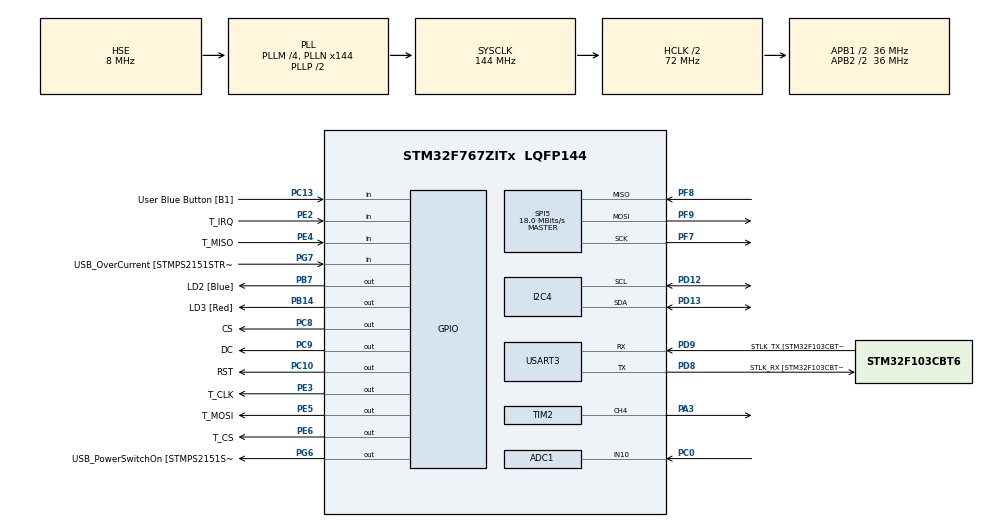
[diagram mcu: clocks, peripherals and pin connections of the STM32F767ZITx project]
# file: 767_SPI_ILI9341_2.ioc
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ADC1.Channel-0\#ChannelRegularConversion=ADC_CHANNEL_10
ADC1.ContinuousConvMode=ENABLE
ADC1.EOCSelection=ADC_EOC_SEQ_CONV
ADC1.NbrOfConversionFlag=1
ADC1.Rank-0\#ChannelRegularConversion=1
ADC1.SamplingTime-0\#ChannelRegularConversion=ADC_SAMPLETIME_3CYCLES
ADC1.master=1
CORTEX_M7.ART_ACCLERATOR_ENABLE=1
CORTEX_M7.CPU_DCache=Enabled
CORTEX_M7.CPU_ICache=Enabled
CORTEX_M7.PREFETCH_ENABLE=1
I2C4.Timing=0x00808CD2
Mcu.Family=STM32F7
Mcu.Name=STM32F767ZITx
Mcu.Package=LQFP144
NVIC.PriorityGroup=NVIC_PRIORITYGROUP_2
NVIC.TIM2_IRQn=true\:2\:0\:true\:false\:true\:true\:true\:true
PA1.GPIO_Label=RMII_REF_CLK [LAN8742A-CZ-TR_REFCLK0]
PA1.Signal=ETH_REF_CLK
PA13.GPIO_Label=TMS
PA13.Mode=Serial_Wire
PA13.Signal=SYS_JTMS-SWDIO
PA14.GPIO_Label=TCK
PA14.Mode=Serial_Wire
PA14.Signal=SYS_JTCK-SWCLK
PA2.GPIO_Label=RMII_MDIO [LAN8742A-CZ-TR_MDIO]
PA2.Signal=ETH_MDIO
PA3.GPIO_Speed=GPIO_SPEED_FREQ_VERY_HIGH
PA3.Signal=S_TIM2_CH4
PA7.GPIO_Label=RMII_CRS_DV [LAN8742A-CZ-TR_CRS_DV]
PA7.Signal=ETH_CRS_DV
PB13.GPIO_Label=RMII_TXD1 [LAN8742A-CZ-TR_TXD1]
PB13.Signal=ETH_TXD1
PB14.GPIO_Label=LD3 [Red]
PB14.Signal=GPIO_Output
PB3.GPIO_Label=SWO
PB3.Signal=SYS_JTDO-SWO
PB7.GPIO_Label=LD2 [Blue]
PB7.Signal=GPIO_Output
PC0.Signal=ADCx_IN10
PC1.GPIO_Label=RMII_MDC [LAN8742A-CZ-TR_MDC]
PC1.Signal=ETH_MDC
PC10.GPIO_Label=RST
PC10.GPIO_Speed=GPIO_SPEED_FREQ_VERY_HIGH
PC10.Signal=GPIO_Output
PC13.GPIO_Label=User Blue Button [B1]
PC13.Signal=GPIO_Input
PC14/OSC32_IN.Mode=LSE-External-Oscillator
PC14/OSC32_IN.Signal=RCC_OSC32_IN
PC15/OSC32_OUT.Mode=LSE-External-Oscillator
PC15/OSC32_OUT.Signal=RCC_OSC32_OUT
PC4.GPIO_Label=RMII_RXD0 [LAN8742A-CZ-TR_RXD0]
PC4.Signal=ETH_RXD0
PC5.GPIO_Label=RMII_RXD1 [LAN8742A-CZ-TR_RXD1]
PC5.Signal=ETH_RXD1
PC8.GPIO_Label=CS
PC8.GPIO_Speed=GPIO_SPEED_FREQ_VERY_HIGH
PC8.Signal=GPIO_Output
PC9.GPIO_Label=DC
PC9.GPIO_Speed=GPIO_SPEED_FREQ_VERY_HIGH
PC9.Signal=GPIO_Output
PD12.Mode=I2C
PD12.Signal=I2C4_SCL
PD13.Mode=I2C
PD13.Signal=I2C4_SDA
PD8.GPIO_Label=STLK_RX [STM32F103CBT6_PA3]
PD8.Mode=Asynchronous
PD8.Signal=USART3_TX
PD9.GPIO_Label=STLK_TX [STM32F103CBT6_PA2]
PD9.Mode=Asynchronous
PD9.Signal=USART3_RX
PE2.GPIO_Label=T_IRQ
PE2.Signal=GPIO_Input
PE3.GPIO_Label=T_CLK
PE3.GPIO_Speed=GPIO_SPEED_FREQ_VERY_HIGH
PE3.Signal=GPIO_Output
PE4.GPIO_Label=T_MISO
PE4.Signal=GPIO_Input
PE5.GPIO_Label=T_MOSI
PE5.GPIO_Speed=GPIO_SPEED_FREQ_VERY_HIGH
PE5.Signal=GPIO_Output
PE6.GPIO_Label=T_CS
PE6.GPIO_Speed=GPIO_SPEED_FREQ_VERY_HIGH
PE6.Signal=GPIO_Output
PF7.Mode=Full_Duplex_Master
PF7.Signal=SPI5_SCK
PF8.Mode=Full_Duplex_Master
PF8.Signal=SPI5_MISO
PF9.Mode=Full_Duplex_Master
PF9.Signal=SPI5_MOSI
PG11.GPIO_Label=RMII_TX_EN [LAN8742A-CZ-TR_TXEN]
PG11.Signal=ETH_TX_EN
PG13.GPIO_Label=RMII_TXD0 [LAN8742A-CZ-TR_TXD0]
PG13.Signal=ETH_TXD0
PG6.GPIO_Label=USB_PowerSwitchOn [STMPS2151STR_EN]
PG6.Signal=GPIO_Output
PG7.GPIO_Label=USB_OverCurrent [STMPS2151STR_FAULT]
PG7.Signal=GPIO_Input
PH0/OSC_IN.GPIO_Label=MCO [STM32F103CBT6_PA8]
PH0/OSC_IN.Mode=HSE-External-Clock-Source
PH0/OSC_IN.Signal=RCC_OSC_IN
PH1/OSC_OUT.Mode=HSE-External-Clock-Source
PH1/OSC_OUT.Signal=RCC_OSC_OUT
ProjectManager.HeapSize=0x200
ProjectManager.StackSize=0x400
ProjectManager.TargetToolchain=STM32CubeIDE
RCC.48MHZClocksFreq_Value=24000000
RCC.AHBCLKDivider=RCC_SYSCLK_DIV2
RCC.AHBFreq_Value=72000000
RCC.APB1CLKDivider=RCC_HCLK_DIV2
RCC.APB1Freq_Value=36000000
RCC.APB1TimFreq_Value=72000000
RCC.APB2CLKDivider=RCC_HCLK_DIV2
RCC.APB2Freq_Value=36000000
RCC.APB2TimFreq_Value=72000000
RCC.CortexFreq_Value=72000000
RCC.HCLKFreq_Value=72000000
RCC.HSE_VALUE=8000000
RCC.HSI_VALUE=16000000
RCC.PLLM=4
RCC.PLLMUL=RCC_PLL_MUL9
RCC.PLLN=144
RCC.PLLQ=6
RCC.PLLSourceVirtual=RCC_PLLSOURCE_HSE
RCC.PRESCALERUSB=RCC_USBCLKSOURCE_PLL_DIV1_5
RCC.SYSCLKFreq_VALUE=144000000
RCC.SYSCLKSource=RCC_SYSCLKSOURCE_PLLCLK
RCC.SYSCLKSourceVirtual=RCC_SYSCLKSOURCE_PLLCLK
RCC.USBFreq_Value=48000000
RCC.VCOOutputFreq_Value=288000000
SH.ADCx_IN10.0=ADC1_IN10,IN10
SH.S_TIM2_CH4.0=TIM2_CH4,PWM Generation4 CH4
SPI5.CalculateBaudRate=18.0 MBits/s
SPI5.DataSize=SPI_DATASIZE_8BIT
SPI5.Direction=SPI_DIRECTION_2LINES
SPI5.Mode=SPI_MODE_MASTER
SPI5.NSSPMode=SPI_NSS_PULSE_DISABLE
SPI5.VirtualType=VM_MASTER
TIM2.Channel-PWM\ Generation4\ CH4=TIM_CHANNEL_4
TIM2.ClockDivision=TIM_CLOCKDIVISION_DIV1
TIM2.Period=1000-1
TIM2.Prescaler=108-1
TIM2.Pulse-PWM\ Generation4\ CH4=1000/4-1
USART3.VirtualMode-Asynchronous=VM_ASYNC
VP_RNG_VS_RNG.Mode=RNG_Activate
VP_TIM2_VS_ClockSourceINT.Mode=Internal
board=NUCLEO-F767ZI

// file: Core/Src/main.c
/* USER CODE BEGIN Header */
/**
 ******************************************************************************
 * @file           : main.c
 * @brief          : Main program body
 ******************************************************************************
 * @attention
 *
 * <h2><center>&copy; Copyright (c) 2021 STMicroelectronics.
 * All rights reserved.</center></h2>
 *
 * This software component is licensed by ST under BSD 3-Clause license,
 * the "License"; You may not use this file except in compliance with the
 * License. You may obtain a copy of the License at:
 *                        opensource.org/licenses/BSD-3-Clause
 *
 ******************************************************************************
 */
/* USER CODE END Header */
#include "main.h"
#include "adc.h"
#include "i2c.h"
#include "rng.h"
#include "spi.h"
#include "tim.h"
#include "usart.h"
#include "gpio.h"

/* USER CODE BEGIN Includes */
#include "stdio.h"
#include "string.h"
#include "stm32f7xx_hal.h"
#include "am2320.h"
#include "ILI9341_Touchscreen.h"

#include "ILI9341_STM32_Driver.h"
#include "ILI9341_GFX.h"

#include <stdio.h>
#include <stdarg.h>
//#include "snow_tiger.h"

#include <toey_resize.h>
/* USER CODE END Includes */

/* USER CODE BEGIN PM */
#define print(x) HAL_UART_Transmit(&huart3, (uint8_t*)x, strlen(x),1000)
/* USER CODE END PM */

/* USER CODE BEGIN PV */
/* Private variables ---------------------------------------------------------*/
uint8_t redVal = 0;
uint8_t greenVal = 0;
uint8_t blueVal = 0;
uint8_t redDecimal = 0;
uint8_t blueDecimal = 0;
uint8_t greenDecimal = 0;
uint8_t someVal = 0;
uint16_t h = 0; //color up to chart
char someValToString[50] = "";
char redPercent[50] = "";
char greenPercent[50] = "";
char bluePercent[50] = "";
uint16_t result = 0;
char resultHex[100] = "";
uint8_t toSecondPage = 0;

float human = 30.0, temp = 40.0;
uint8_t step = 0;
HAL_StatusTypeDef status;

UART_HandleTypeDef huart2;
/* USER CODE END PV */

void SystemClock_Config(void);
/* USER CODE BEGIN PFP */
/* Private function prototypes -----------------------------------------------*/
uint16_t CRC16_2(uint8_t*, uint8_t);
/* USER CODE END PFP */

/* USER CODE BEGIN 0 */
//void displayHEX(uint32_t myNumber){
//	sprintf(toHex,"0x%08X",myNumber);
//};
uint16_t rgb888_to_rgb565(uint8_t red8, uint8_t green8, uint8_t blue8) {
	// Convert 8-bit red to 5-bit red.
	uint8_t red5 = (uint8_t) ((red8 / 255.0) * 31);
	// Convert 8-bit green to 6-bit green.
	uint8_t green6 = (uint8_t) ((green8 / 255.0) * 63);
	// Convert 8-bit blue to 5-bit blue.
	uint8_t blue5 = (uint8_t) ((blue8 / 255.0) * 31);

	// Shift the red value to the left by 11 bits.
	uint16_t red5_shifted = (uint16_t) (red5) << 11;
	// Shift the green value to the left by 5 bits.
	uint16_t green6_shifted = (uint16_t) (green6) << 5;

	// Combine the red, green, and blue values.
	uint16_t rgb565 = red5_shifted | green6_shifted | blue5;

	return rgb565;
}

void vprint(const char *fmt, va_list argp) {
	char string[200];
	if (0 < vsprintf(string, fmt, argp)) // build string
			{
		HAL_UART_Transmit(&huart2, (uint8_t*) string, strlen(string), 0xffffff); // send message via UART
	}
}

void my_printf(const char *fmt, ...) // custom printf() function
{
	va_list argp;
	va_start(argp, fmt);
	vprint(fmt, argp);
	va_end(argp);
}
float dutyCycleB = 0.25;
/* USER CODE END 0 */

int main(void) {
	/* USER CODE BEGIN 1 */
	char str[50];
	char human[100];
	char temp[100];
	uint8_t cmdBuffer[3];
	uint8_t dataBuffer[8];
	/* USER CODE END 1 */

	/* Enable I-Cache---------------------------------------------------------*/
	SCB_EnableICache();

	/* Enable D-Cache---------------------------------------------------------*/
	SCB_EnableDCache();

	/* MCU Configuration--------------------------------------------------------*/

	/* Reset of all peripherals, Initializes the Flash interface and the Systick. */
	HAL_Init();

	/* Configure the system clock */
	SystemClock_Config();

	/* Initialize all configured peripherals */
	MX_GPIO_Init();
	MX_USART3_UART_Init();
	MX_SPI5_Init();
	MX_RNG_Init();
	MX_TIM2_Init();
	MX_I2C4_Init();
	MX_ADC1_Init();
	/* USER CODE BEGIN 2 */
	ILI9341_Init(); //initial driver setup to drive ili9341

//	Am2320_HandleTypeDef Am2320_;
//	Am2320_ = am2320_Init(&hi2c4, AM2320_ADDRESS);
	ILI9341_Fill_Screen(WHITE);
	ILI9341_Set_Rotation(SCREEN_HORIZONTAL_1);
	HAL_ADC_Start(&hadc1);
	int adc_val;
	/* USER CODE END 2 */

	/* Infinite loop */
	/* USER CODE BEGIN WHILE */
	while (1) {
//		am2320_GetTemperatureAndHumidity(&Am2320_, &temperature, &humidity);

		/* USER CODE END WHILE */

		/* USER CODE BEGIN 3 */

		while (HAL_ADC_PollForConversion(&hadc1, 100) != HAL_OK) {
		}
		adc_val = HAL_ADC_GetValue(&hadc1);
		if (adc_val <= 340)
			dutyCycleB = 0.25;
		else if (adc_val <= 680)
			dutyCycleB = 0.30;
		else if (adc_val <= 1020)
			dutyCycleB = 0.35;
		else if (adc_val <= 1360)
			dutyCycleB = 0.40;
		else if (adc_val <= 1700)
			dutyCycleB = 0.45;
		else if (adc_val <= 2040)
			dutyCycleB = 0.50;
		else if (adc_val <= 2380)
			dutyCycleB = 0.55;
		else if (adc_val <= 2720)
			dutyCycleB = 0.60;
		else if (adc_val <= 3060)
			dutyCycleB = 0.65;
		else if (adc_val <= 3400)
			dutyCycleB = 0.70;
		else if (adc_val <= 3740)
			dutyCycleB = 0.75;
		else
			dutyCycleB = 0.80;
		htim2.Instance->CCR4 = (1000 - 1) * dutyCycleB;
		HAL_TIM_PWM_Start(&htim2, TIM_CHANNEL_4);
		HAL_Delay(100);
		HAL_TIM_PWM_Stop(&htim2, TIM_CHANNEL_4);
		char str[100];
		sprintf(str,"%.0f%%",dutyCycleB*100,adc_val);
		if(dutyCycleB<=0.45)
		{
			ILI9341_Draw_Text(str, 120, 100,YELLOW , 5, GREEN);
		}
		else if(dutyCycleB<=0.65)
		{
			ILI9341_Draw_Text(str, 120, 100, BLUE, 5, YELLOW);
		}
		else{
			ILI9341_Draw_Text(str, 120, 100, RED, 5, CYAN);
			ILI9341_Draw_Text(str, 120, 100, CYAN, 5, CYAN);
		}

//		//----------------------------------------------------------PERFORMANCE TEST
//		ILI9341_Set_Rotation(SCREEN_HORIZONTAL_1); //�?ลับข้อความ
//		ILI9341_Draw_Text(temp, 30, 30, BLACK, 2, WHITE);
//		ILI9341_Draw_Text(human, 180, 30, BLACK, 2, WHITE);
//		ILI9341_Draw_Filled_Circle(160, 30, 15, h); // x , y , r ,color
//		/////////////////////////////////////////////////////////////////////////
//
//		ILI9341_Draw_Filled_Circle(30, 80, 15, 0XF800);
//		ILI9341_Draw_Rectangle(50, 70, 100, 20, 0XF81F);//x , y , lx, ly ,color
//
//		//ILI9341_Draw_Rectangle(50, 70, 20,20, 0X07E0);
//		if (redVal <= 10) {
//			ILI9341_Draw_Rectangle(50, 70, redVal * 10, 20, 0XF800);//x , y , lx, ly ,color
//			sprintf(redPercent, "%d%%  ", redVal * 10);
//			ILI9341_Draw_Text(redPercent, 180, 70, BLACK, 2, WHITE);
//
//		}
//		////////////////////////////////////green///////////////////////////////////
//		ILI9341_Draw_Filled_Circle(30, 130, 15, 0X07E0);
//		ILI9341_Draw_Rectangle(50, 120, 100, 20, 0XC618);//x , y , lx, ly ,color
//		if (greenVal <= 10) {
//			ILI9341_Draw_Rectangle(50, 120, greenVal * 10, 20, 0X07E0);	//x , y , lx, ly ,color
//			sprintf(greenPercent, "%d%%  ", greenVal * 10);
//			ILI9341_Draw_Text(greenPercent, 180, 120, BLACK, 2, WHITE);
//
//		}
//		////////////////////////////////////blue///////////////////////////////////
//		ILI9341_Draw_Filled_Circle(30, 180, 15, 0X001F);
//		ILI9341_Draw_Rectangle(50, 170, 100, 20, 0X07FF);//x , y , lx, ly ,color
//		if (blueVal <= 10) {
//			ILI9341_Draw_Rectangle(50, 170, blueVal * 10, 20, 0X001F);//x , y , lx, ly ,color
//			sprintf(bluePercent, "%d%%  ", blueVal * 10);
//			ILI9341_Draw_Text(bluePercent, 180, 170, BLACK, 2, WHITE);
//			sprintf(someValToString, "%d", blueDecimal);
//
//		}
//
//		result = rgb888_to_rgb565(redDecimal, greenDecimal, blueDecimal);
//		sprintf(resultHex, "0X%04X", result);
//
//		sscanf(resultHex, "%x", &h);
//
//
//		ILI9341_Set_Rotation(SCREEN_HORIZONTAL_1);
//		ILI9341_Set_Rotation(SCREEN_VERTICAL_1);
//
//
//		if (TP_Touchpad_Pressed()) {
//
//			uint16_t x_pos = 0;
//			uint16_t y_pos = 0;
//
//			HAL_GPIO_WritePin(GPIOB, LD3_Pin | LD2_Pin, GPIO_PIN_SET);
//
//			uint16_t position_array[2];
//
//			if (TP_Read_Coordinates(position_array) == TOUCHPAD_DATA_OK) {
//				x_pos = position_array[0];
//				y_pos = position_array[1];
//				if ((x_pos >= 146 && x_pos <= 170)
//						&& (y_pos >= 6 && y_pos <= 34))	  		//RedCheck
//						{
//					//ILI9341_Draw_Text("r", 180, 210, BLACK, 2, WHITE);
//					redVal += 1;
//					redDecimal += 25;
//					if (redVal == 11) {
//						redVal = 0;
//						redDecimal = 0;
//					}
//				} else if ((x_pos >= 90 && x_pos <= 119)
//						&& (y_pos >= 9 && y_pos <= 60))	  		//GreenCheck
//						{
//					//ILI9341_Draw_Text("g", 180, 210, BLACK, 2, WHITE);
//					greenVal += 1;
//					greenDecimal += 25;
//					if (greenVal == 11) {
//						greenVal = 0;
//						greenDecimal = 0;
//					}
//				} else if ((x_pos >= 44 && x_pos <= 69)
//						&& (y_pos >= 9 && y_pos <= 42))	  		//GreenCheck
//						{
//					//ILI9341_Draw_Text("b", 180, 210, BLACK, 2, WHITE);
//					blueVal += 1;
//					blueDecimal += 25;
//					if (blueVal == 11) {
//						blueVal = 0;
//						blueDecimal = 0;
//					}
//				} else if ((x_pos >= 200 && x_pos <= 231)
//						&& (y_pos >= 145 && y_pos <= 176))	  		//Center Top
//						{
//					//ILI9341_Draw_Text("c", 180, 210, BLACK, 2, WHITE);
//					toSecondPage = 1;
//				}
//				ILI9341_Draw_Filled_Circle(x_pos, y_pos, 2, BLACK);
//
//				ILI9341_Set_Rotation(SCREEN_HORIZONTAL_1);
//
//				ILI9341_Set_Rotation(SCREEN_VERTICAL_1);
//			}
//
////	  			  					ILI9341_Draw_Pixel(x_pos, y_pos, BLACK);
//		} else {
//			HAL_GPIO_WritePin(GPIOB, LD3_Pin | LD2_Pin, GPIO_PIN_RESET);
//		}
//
////	  			  		}

	}
	/* USER CODE END 3 */
}

void SystemClock_Config(void) {
	RCC_OscInitTypeDef RCC_OscInitStruct = { 0 };
	RCC_ClkInitTypeDef RCC_ClkInitStruct = { 0 };

	/** Configure LSE Drive Capability
	 */
	HAL_PWR_EnableBkUpAccess();

	/** Configure the main internal regulator output voltage
	 */
	__HAL_RCC_PWR_CLK_ENABLE();
	__HAL_PWR_VOLTAGESCALING_CONFIG(PWR_REGULATOR_VOLTAGE_SCALE3);

	/** Initializes the RCC Oscillators according to the specified parameters
	 * in the RCC_OscInitTypeDef structure.
	 */
	RCC_OscInitStruct.OscillatorType = RCC_OSCILLATORTYPE_HSE;
	RCC_OscInitStruct.HSEState = RCC_HSE_BYPASS;
	RCC_OscInitStruct.PLL.PLLState = RCC_PLL_ON;
	RCC_OscInitStruct.PLL.PLLSource = RCC_PLLSOURCE_HSE;
	RCC_OscInitStruct.PLL.PLLM = 4;
	RCC_OscInitStruct.PLL.PLLN = 144;
	RCC_OscInitStruct.PLL.PLLP = RCC_PLLP_DIV2;
	RCC_OscInitStruct.PLL.PLLQ = 6;
	RCC_OscInitStruct.PLL.PLLR = 2;
	if (HAL_RCC_OscConfig(&RCC_OscInitStruct) != HAL_OK) {
		Error_Handler();
	}

	/** Initializes the CPU, AHB and APB buses clocks
	 */
	RCC_ClkInitStruct.ClockType = RCC_CLOCKTYPE_HCLK | RCC_CLOCKTYPE_SYSCLK
			| RCC_CLOCKTYPE_PCLK1 | RCC_CLOCKTYPE_PCLK2;
	RCC_ClkInitStruct.SYSCLKSource = RCC_SYSCLKSOURCE_PLLCLK;
	RCC_ClkInitStruct.AHBCLKDivider = RCC_SYSCLK_DIV2;
	RCC_ClkInitStruct.APB1CLKDivider = RCC_HCLK_DIV2;
	RCC_ClkInitStruct.APB2CLKDivider = RCC_HCLK_DIV2;

	if (HAL_RCC_ClockConfig(&RCC_ClkInitStruct, FLASH_LATENCY_2) != HAL_OK) {
		Error_Handler();
	}
}

void Error_Handler(void) {
	while (1) {
	}
}
